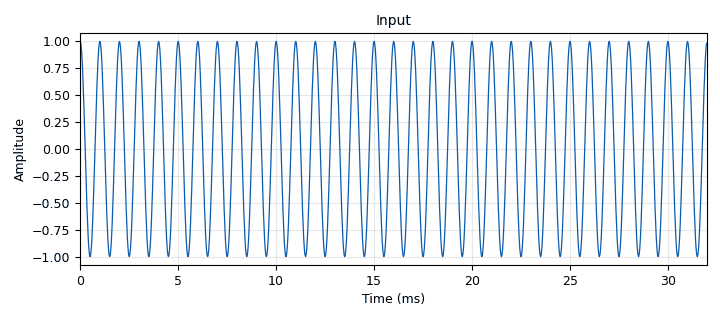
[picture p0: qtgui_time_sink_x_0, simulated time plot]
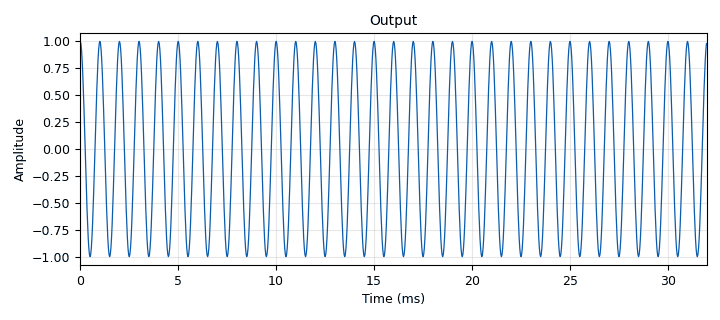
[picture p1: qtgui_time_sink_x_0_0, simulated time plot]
options:
  parameters:
    generate_options: qt_gui
    id: gain_CH7
    output_language: python
    title: Not titled yet
  states: {}

blocks:
- name: gain
  id: variable_qtgui_range
  parameters:
    min_len: '10'
    orient: Qt.Horizontal
    start: '0'
    step: '1'
    stop: '10'
    value: '1'
  states: {}
- name: samp_rate
  id: variable
  parameters:
    value: '32000'
  states: {}
- name: analog_sig_source_x_0
  id: analog_sig_source_x
  parameters:
    amp: '1'
    freq: '1000'
    offset: '0'
    phase: '0'
    samp_rate: samp_rate
    type: float
    waveform: analog.GR_COS_WAVE
  states: {}
- name: blocks_multiply_const_vxx_0
  id: blocks_multiply_const_vxx
  parameters:
    const: gain
    type: float
  states: {}
- name: qtgui_time_sink_x_0
  id: qtgui_time_sink_x
  parameters:
    name: Input
    size: '1024'
    srate: samp_rate
    type: float
  states: {}
- name: qtgui_time_sink_x_0_0
  id: qtgui_time_sink_x
  parameters:
    name: Output
    size: '1024'
    srate: samp_rate
    type: float
  states: {}

connections:
- [analog_sig_source_x_0, '0', blocks_multiply_const_vxx_0, '0']
- [analog_sig_source_x_0, '0', qtgui_time_sink_x_0, '0']
- [blocks_multiply_const_vxx_0, '0', qtgui_time_sink_x_0_0, '0']

metadata:
  file_format: 1
